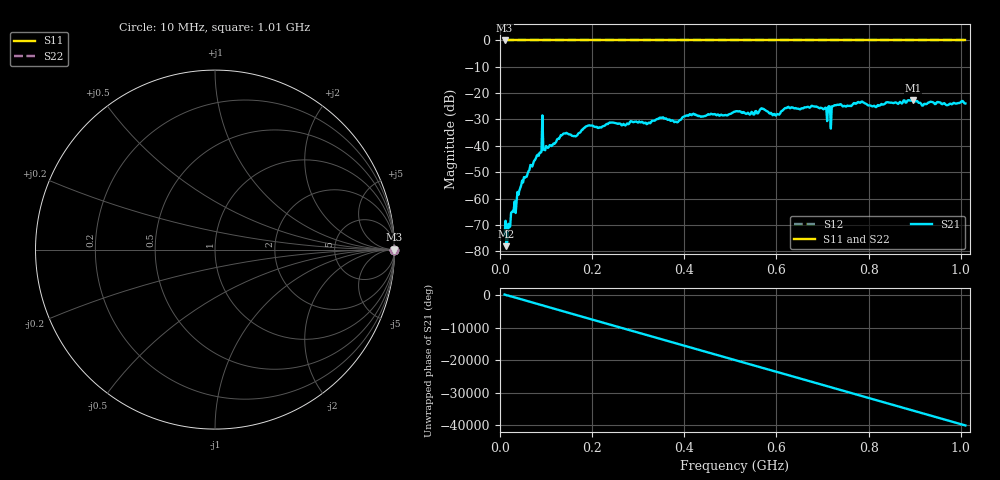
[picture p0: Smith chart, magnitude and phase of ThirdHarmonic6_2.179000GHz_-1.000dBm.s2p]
! 8/17/2025 1:59:39 AM
! C:\ANRITSUVNA\TEMP\TEMP.S2P
! CHANNEL.1
! TR.MEASUREMENT
! RAW.DATA
! RF.CORRECTION.OFF
! AVERAGING.OFF
! IF.BANDWIDTH: 5KHZ
! SWEEPTYPE:  FREQ.SWEEP(Linear)
! Reference Plane Port Info
! PORT:  PORT1  PORT2
! DISTANCE:  0  m  0  m
! TIME:  0  s  0  s
! PHASE.OFFSET:  0  deg.  0  deg.
! LOSS:  0  dB  0  dB
! REF.LOSS:  0  dB  0  dB
! REF.FREQ:  0  Hz  0  Hz
! Power Info
! POWER:  -20  dBm  -20  dBm
! EFF.POWER:  -20  dBm  -20  dBm
! SOURCE.ATTEN:  0  dB  0  dB
! TEST.ATTEN:  0  dB  0  dB
# GHZ S RI R 50.0
! FREQ.GHZ  S11RE  S11IM  S21RE  S21IM  S12RE  S12IM  S22RE  S22IM
!; PortSelection: Port_12
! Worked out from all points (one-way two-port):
!   501 points, 10 MHz to 1.01 GHz, reference 50 ohm
!   highest |S21| = -22.65 dB at 896 MHz (marker M1); lowest = -78.1 dB at 14 MHz (marker M2)
!   lowest |S11| = 0.0 dB at 10 MHz (marker M3)
!   |S11| at or under -10 dB: nowhere
!   |S22| runs from 0.0 to 0.0 dB; largest |S21 - S12| = 1.1
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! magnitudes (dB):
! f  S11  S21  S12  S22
! 10 MHz  0.0  -73.7  0.0  0.0
! 14 MHz  0.0  -78.1  0.0  0.0
! 18 MHz  0.0  -69.6  0.0  0.0
! 28 MHz  0.0  -65.1  0.0  0.0
! 48 MHz  0.0  -53.2  0.0  0.0
! 86 MHz  0.0  -42.6  0.0  0.0
! 88 MHz  0.0  -42.6  0.0  0.0
! 100 MHz  0.0  -40.1  0.0  0.0
! 178 MHz  0.0  -33.9  0.0  0.0
! 344 MHz  0.0  -29.8  0.0  0.0
! 382 MHz  0.0  -30.8  0.0  0.0
! 416 MHz  0.0  -28.3  0.0  0.0
! 510 MHz  0.0  -27.0  0.0  0.0
! 570 MHz  0.0  -26.0  0.0  0.0
! 602 MHz  0.0  -27.9  0.0  0.0
! 622 MHz  0.0  -25.7  0.0  0.0
! 678 MHz  0.0  -24.9  0.0  0.0
! 714 MHz  0.0  -24.9  0.0  0.0
! 730 MHz  0.0  -24.6  0.0  0.0
! 844 MHz  0.0  -23.6  0.0  0.0
! 896 MHz  0.0  -22.6  0.0  0.0
! 1.01 GHz  0.0  -23.9  0.0  0.0
